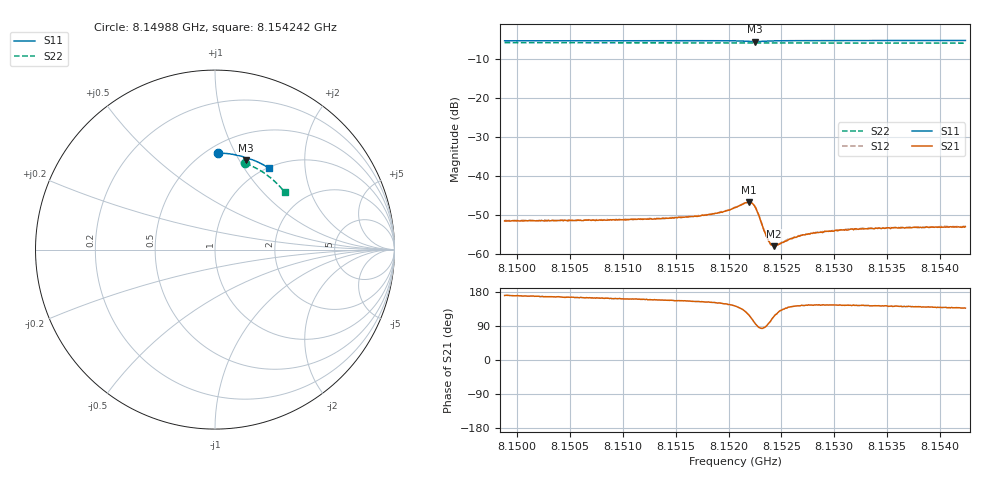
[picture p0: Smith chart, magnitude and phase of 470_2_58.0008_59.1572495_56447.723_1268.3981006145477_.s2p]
#  HZ  S  RI  R  50.00
! Rohde & Schwarz Vector Network Analyzer
! Rohde-Schwarz,ZNB20-2Port,1311601062101988,3.16
! Created: UTC 3/21/2024, 1:11:20 AM
! freq[Hz]  re:S11  im:S11  re:S21  im:S21  re:S12  im:S12  re:S22  im:S22
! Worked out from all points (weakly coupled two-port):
!   401 points, 8.14988 GHz to 8.154242 GHz, reference 50 ohm
!   highest |S21| = -46.84 dB at 8.152192 GHz (marker M1); lowest = -58.1 dB at 8.152432 GHz (marker M2)
!   lowest |S11| = -5.6 dB at 8.152246 GHz (marker M3), VSWR 3.22, Z = 38.7 + j53.2 ohm
!   |S11| at or under -10 dB: nowhere
!   |S22| runs from -6.0 to -5.9 dB; largest |S21 - S12| = 0.00012
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8.1498801e9  0.0153 0.5378  -0.00259 0.000447  -0.00261 0.000478  0.1694 0.4806
8.1506107e9  0.0662 0.535  -0.00257 0.000697  -0.0026 0.000744  0.2128 0.4621
8.1513414e9  0.1169 0.5275  -0.00261 0.00102  -0.00264 0.00109  0.2536 0.4396
8.1518103e9  0.15 0.5194  -0.00285 0.00142  -0.00283 0.00152  0.2788 0.4233
8.1519411e9  0.1598 0.5158  -0.00291 0.00173  -0.00293 0.0018  0.2857 0.4185
8.1520611e9  0.169 0.511  -0.00308 0.00238  -0.0031 0.00245  0.2917 0.4138
8.1521592e9  0.1751 0.5035  -0.00276 0.00355  -0.0027 0.0036  0.2965 0.41
8.1521919e9  0.1751 0.4999  -0.00219 0.00399  -0.00218 0.00405  0.2981 0.4086
8.1522247e9  0.1733 0.4974  -0.00131 0.00422  -0.00121 0.00426  0.2995 0.4073
8.1522465e9  0.1713 0.4974  -0.000589 0.00403  -0.000562 0.00407  0.3006 0.4065
8.1522792e9  0.1695 0.4994  0.00012 0.00329  0.000163 0.00334  0.3021 0.4052
8.1523337e9  0.1714 0.5042  0.000163 0.002  0.000222 0.00204  0.3048 0.4035
8.1523664e9  0.1743 0.5059  -6.21e-05 0.00159  -1.27e-05 0.00159  0.3065 0.4023
8.1523991e9  0.1773 0.5068  -0.000294 0.00127  -0.000315 0.0013  0.3082 0.401
8.1524319e9  0.1804 0.507  -0.000543 0.00112  -0.000567 0.00116  0.3099 0.3998
8.1524755e9  0.1845 0.5069  -0.000795 0.00105  -0.00077 0.00107  0.3121 0.3981
8.1526063e9  0.195 0.5046  -0.00123 0.000979  -0.00123 0.00099  0.3185 0.3926
8.1526718e9  0.1999 0.5032  -0.00134 0.00101  -0.00135 0.00103  0.3217 0.3901
8.1527917e9  0.2083 0.5003  -0.00149 0.00105  -0.00148 0.00111  0.3274 0.3849
8.1531298e9  0.2309 0.4914  -0.00164 0.00116  -0.00166 0.00124  0.3431 0.3705
8.1535224e9  0.2559 0.4796  -0.00169 0.00133  -0.00167 0.00135  0.3603 0.3527
8.1542421e9  0.2992 0.455  -0.00162 0.00152  -0.00161 0.00154  0.3895 0.3182
